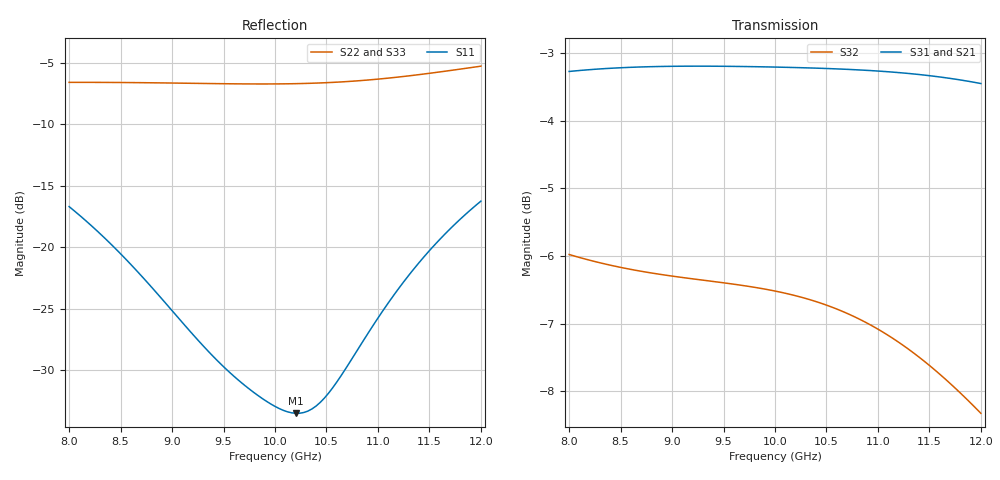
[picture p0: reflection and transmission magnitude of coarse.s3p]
! yapnr rf: divider-x10, binary design on the optimization grid
! spec sha256 ebfea4ffd0e4fa7859ad9e810227fbb437c0960cb2a10d4053162c36b793aa05
! renormalized to 50 ohm, e^(+jwt) convention
# GHz S RI R 50
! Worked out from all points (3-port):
!   101 points, 8 GHz to 12 GHz, reference 50 ohm
!   strongest paths, dB at 8 GHz, 9 GHz, 10 GHz, 11 GHz, 12 GHz:
!     S31: -3.3, -3.2, -3.2, -3.3, -3.5
!     S21: -3.3, -3.2, -3.2, -3.3, -3.5
!     S32: -6.0, -6.3, -6.5, -7.1, -8.3
!   lowest |S11| = -33.5 dB at 10.2 GHz (marker M1), VSWR 1.04, Z = 51.4 + j1.61 ohm
!   |S11| at or under -10 dB: start of sweep to end of sweep
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8  0.0405 0.1406  -0.6519 0.2256  -0.6519 0.2256
   -0.6486 0.2239  -0.4541 0.1126  0.5019 0.0235
   -0.6486 0.2239  0.5019 0.0235  -0.4541 0.1126
8.44  0.0373 0.0925  -0.5929 0.3611  -0.5929 0.3611
      -0.5894 0.359  -0.4116 0.2215  0.4712 -0.1435
      -0.5894 0.359  0.4712 -0.1435  -0.4116 0.2215
8.92  0.0243 0.0553  -0.4948 0.4905  -0.4948 0.4905
      -0.491 0.4877  -0.3263 0.3319  0.3785 -0.3037
      -0.491 0.4877  0.3785 -0.3037  -0.3263 0.3319
9.48  0.0107 0.0316  -0.3443 0.6067  -0.3443 0.6067
      -0.3405 0.6027  -0.1704 0.4295  0.2035 -0.4336
      -0.3405 0.6027  0.2035 -0.4336  -0.1704 0.4295
10  0.0103 0.0201  -0.1798 0.674  -0.1798 0.674
    -0.1764 0.6684  0.0213 0.4606  0.000898 -0.4721
    -0.1764 0.6684  0.000898 -0.4721  0.0213 0.4606
10.2  0.0142 0.0156  -0.1123 0.6883  -0.1123 0.6883
      -0.1092 0.682  0.1018 0.4509  -0.0792 -0.4616
      -0.1092 0.682  -0.0792 -0.4616  0.1018 0.4509
10.52  0.0249 0.00561  -0.00145 0.6969  -0.00145 0.6969
       0.000786 0.6895  0.2299 0.4064  -0.1996 -0.4148
       0.000786 0.6895  -0.1996 -0.4148  0.2299 0.4064
11.16  0.0541 -0.035  0.2203 0.6583  0.2203 0.6583
       0.2195 0.6491  0.4403 0.2144  -0.3697 -0.2288
       0.2195 0.6491  -0.3697 -0.2288  0.4403 0.2144
11.6  0.068 -0.0833  0.3613 0.5876  0.3613 0.5876
      0.3576 0.578  0.5151 0.0268  -0.4045 -0.0658
      0.3576 0.578  -0.4045 -0.0658  0.5151 0.0268
12  0.0656 -0.1393  0.4717 0.4941  0.4717 0.4941
    0.465 0.4853  0.5219 -0.1547  -0.3763 0.0732
    0.465 0.4853  -0.3763 0.0732  0.5219 -0.1547
